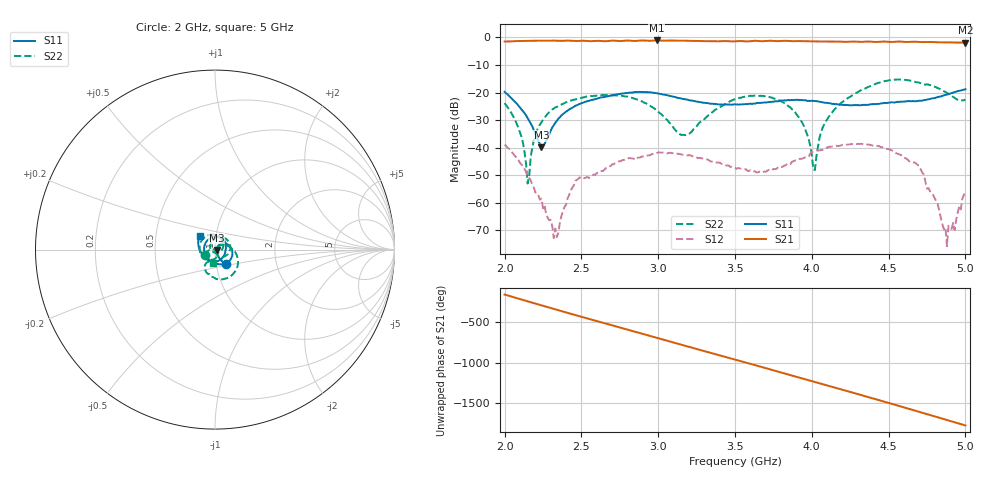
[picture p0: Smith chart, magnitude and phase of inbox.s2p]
#  HZ  S  DB  R  50.00
! Rohde & Schwarz Vector Network Analyzer
! Rohde-Schwarz,ZNB40-4Port,1311601084101506,3.12
! Created: UTC 11/24/2023, 12:32:32 PM
! freq[Hz]  db:S11  ang:S11  db:S21  ang:S21  db:S12  ang:S12  db:S22  ang:S22
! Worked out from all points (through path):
!   301 points, 2 GHz to 5 GHz, reference 50 ohm
!   highest |S21| = -1.10 dB at 2.99 GHz (marker M1); lowest = -1.9 dB at 5 GHz (marker M2)
!   lowest |S11| = -39.9 dB at 2.24 GHz (marker M3), VSWR 1.02, Z = 51 - j0.236 ohm
!   |S11| at or under -10 dB: start of sweep to end of sweep
!   |S22| runs from -53.0 to -15.3 dB; largest |S21 - S12| = 0.87
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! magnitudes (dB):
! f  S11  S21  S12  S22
! 2 GHz  -19.7  -1.5  -38.9  -23.8
! 2.11 GHz  -26.1  -1.3  -46.1  -36.1
! 2.15 GHz  -29.3  -1.3  -50.1  -53.0
! 2.19 GHz  -33.6  -1.2  -54.5  -37.5
! 2.24 GHz  -39.9  -1.2  -58.5  -30.8
! 2.34 GHz  -30.2  -1.2  -72.4  -25.2
! 2.5 GHz  -23.9  -1.2  -51.1  -21.9
! 2.99 GHz  -20.2  -1.1  -41.9  -26.6
! 3 GHz  -20.4  -1.1  -41.7  -27.0
! 3.18 GHz  -22.5  -1.2  -42.7  -35.4
! 3.5 GHz  -24.3  -1.4  -47.2  -22.4
! 3.83 GHz  -22.9  -1.2  -46.4  -24.1
! 4 GHz  -23.0  -1.4  -41.5  -42.6
! 4.02 GHz  -23.1  -1.4  -41.2  -48.1
! 4.07 GHz  -23.5  -1.5  -40.8  -32.8
! 4.19 GHz  -24.4  -1.5  -39.2  -23.8
! 4.5 GHz  -23.7  -1.6  -40.5  -15.6
! 4.73 GHz  -22.8  -1.7  -49.7  -17.0
! 4.88 GHz  -20.7  -1.8  -75.7  -20.1
! 4.89 GHz  -20.6  -1.8  -68.3  -20.4
! 4.93 GHz  -19.8  -1.9  -69.9  -21.9
! 5 GHz  -18.8  -1.9  -55.5  -22.5
